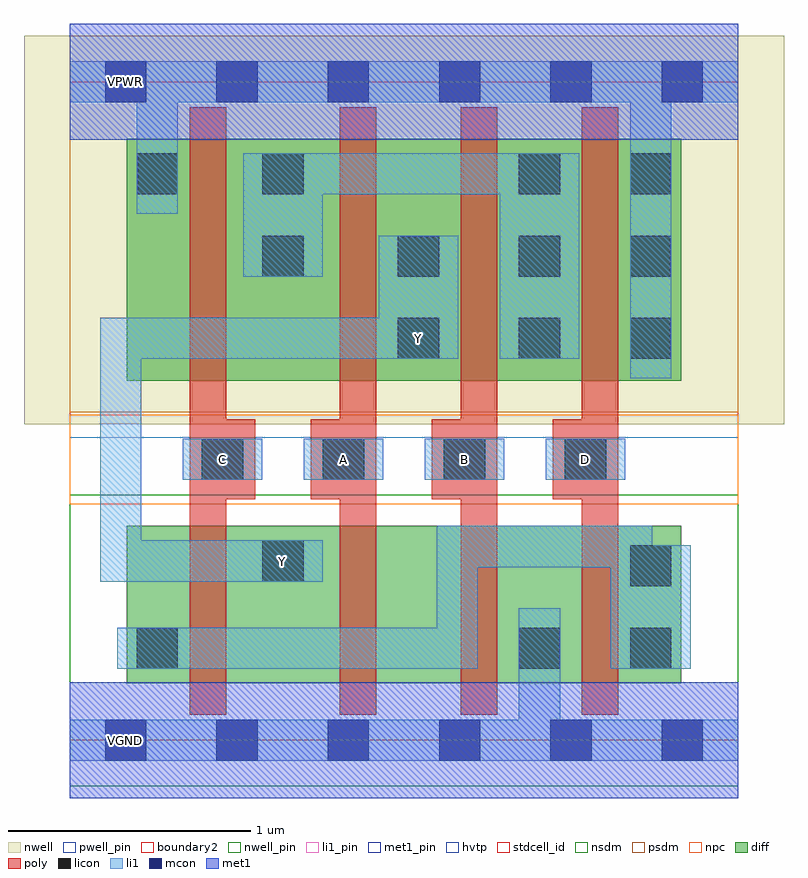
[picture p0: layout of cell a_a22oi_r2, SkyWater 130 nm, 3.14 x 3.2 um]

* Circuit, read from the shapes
.subckt a_a22oi_r2 A B C D VGND VNB VPB VPWR Y
XM1 Y C n1 VNB sky130_fd_pr__nfet_01v8 w=0.65 l=0.15
XM2 n2 A Y VNB sky130_fd_pr__nfet_01v8 w=0.65 l=0.15
XM3 VGND B n2 VNB sky130_fd_pr__nfet_01v8 w=0.65 l=0.15
XM4 n1 D VGND VNB sky130_fd_pr__nfet_01v8 w=0.65 l=0.15
XM5 n3 C VPWR VPB sky130_fd_pr__pfet_01v8_hvt w=1 l=0.15
XM6 Y A n3 VPB sky130_fd_pr__pfet_01v8_hvt w=1 l=0.15
XM7 n3 B Y VPB sky130_fd_pr__pfet_01v8_hvt w=1 l=0.15
XM8 VPWR D n3 VPB sky130_fd_pr__pfet_01v8_hvt w=1 l=0.15
.ends

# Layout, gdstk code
import gdstk
lib = gdstk.Library(unit=1e-6, precision=1e-09)
def R(c, l, rs):  # rectangles x0, y0, x1, y1
    for r in rs: c.add(gdstk.rectangle(r[:2], r[2:], *l))
def A(c, l, x, y, w, h, nx, ny, dx, dy):  # array of equal rectangles
    R(c, l, [(x+i*dx, y+j*dy, x+i*dx+w, y+j*dy+h) for i in range(nx) for j in range(ny)])
nwell_pin = (64, 16)
nwell = (64, 20)
diff = (65, 20)
poly = (66, 20)
licon = (66, 44)
li1_pin = (67, 16)
li1 = (67, 20)
mcon = (67, 44)
met1_pin = (68, 16)
met1 = (68, 20)
hvtp = (78, 44)
stdcell_id = (81, 4)
nsdm = (93, 44)
psdm = (94, 20)
npc = (95, 20)
pwell_pin = (122, 16)
boundary2 = (236, 0)

a_a22oi_r2 = lib.new_cell('a_a22oi_r2')
R(a_a22oi_r2, nwell_pin, [(0.145,2.635,0.315,2.805)])
R(a_a22oi_r2, nwell, [(-0.19,1.305,2.95,2.91)])
R(a_a22oi_r2, diff, [(0.235,0.235,0.88,0.885), (0.88,0.235,1.44,0.885), (1.44,0.235,1.94,0.885), (1.94,0.235,2.525,0.885), (0.235,1.485,0.88,2.485), (0.88,1.485,1.44,2.485), (1.44,1.485,1.94,2.485), (1.94,1.485,2.525,2.485)])
A(a_a22oi_r2, poly, 1.115, 0.105, 0.15, 2.51, 3, 1, 0.5, 0)
A(a_a22oi_r2, poly, 0.495, 0.995, 0.27, 0.33, 4, 1, 0.5, 0)
R(a_a22oi_r2, poly, [(0.495,0.105,0.645,2.615)])
A(a_a22oi_r2, licon, 0.545, 1.075, 0.17, 0.17, 4, 1, 0.5, 0)
A(a_a22oi_r2, licon, 1.855, 1.575, 0.17, 0.17, 1, 3, 0, 0.34)
A(a_a22oi_r2, licon, 2.315, 1.575, 0.17, 0.17, 1, 3, 0, 0.34)
R(a_a22oi_r2, licon, [(0.275,0.295,0.445,0.465), (1.855,0.295,2.025,0.465), (2.315,0.295,2.485,0.465), (2.315,0.635,2.485,0.805), (0.795,0.655,0.965,0.825), (1.355,1.575,1.525,1.745), (0.795,1.915,0.965,2.085), (1.355,1.915,1.525,2.085), (0.275,2.255,0.445,2.425), (0.795,2.255,0.965,2.425)])
A(a_a22oi_r2, li1_pin, 0.545, 1.075, 0.17, 0.17, 4, 1, 0.5, 0)
R(a_a22oi_r2, li1_pin, [(0.795,0.655,0.965,0.825), (1.355,1.575,1.525,1.745)])
A(a_a22oi_r2, li1, 0.465, 1.075, 0.33, 0.17, 4, 1, 0.5, 0)
R(a_a22oi_r2, li1, [(0,-0.085,2.76,0.085), (1.855,-0.085,2.025,0.545), (0.195,0.295,0.525,0.465), (0.355,0.295,1.685,0.465), (1.515,0.295,1.685,0.885), (2.235,0.295,2.565,0.465), (2.235,0.295,2.405,0.885), (2.235,0.295,2.565,0.805), (0.125,0.655,0.885,0.825), (0.125,0.655,0.295,1.745), (0.715,0.655,1.045,0.825), (1.515,0.715,2.405,0.885), (2.315,1.495,2.485,2.085), (0.125,1.575,1.445,1.745), (1.275,1.575,1.605,1.745), (1.275,1.575,1.605,2.085), (1.775,1.575,2.105,2.085), (2.315,1.835,2.485,2.425), (0.715,1.915,1.045,2.425), (1.775,1.915,2.105,2.425), (2.315,2.085,2.485,2.175), (2.315,2.085,2.485,2.175), (2.315,2.085,2.485,2.175), (2.315,2.085,2.485,2.175), (0.275,2.175,0.445,2.805), (2.315,2.175,2.485,2.805), (0.715,2.255,1.045,2.425), (0.875,2.255,1.945,2.425), (1.775,2.255,2.105,2.425), (0,2.635,2.76,2.805)])
A(a_a22oi_r2, mcon, 0.145, -0.085, 0.17, 0.17, 6, 2, 0.46, 2.72)
R(a_a22oi_r2, met1_pin, [(0.145,-0.085,0.315,0.085), (0.145,2.635,0.315,2.805)])
R(a_a22oi_r2, met1, [(0,-0.24,2.76,0.24), (0,2.48,2.76,2.96)])
R(a_a22oi_r2, hvtp, [(0,1.25,2.76,2.72)])
R(a_a22oi_r2, stdcell_id, [(0,0,2.76,2.72)])
R(a_a22oi_r2, nsdm, [(0,-0.19,2.76,1.015)])
R(a_a22oi_r2, psdm, [(0,1.355,2.76,2.91)])
R(a_a22oi_r2, npc, [(0,0.975,2.76,1.345)])
R(a_a22oi_r2, pwell_pin, [(0.145,-0.085,0.315,0.085)])
R(a_a22oi_r2, boundary2, [(0,0,2.76,2.72)])
a_a22oi_r2.add(gdstk.Label('A', (1.13,1.16), layer=67, texttype=5))
a_a22oi_r2.add(gdstk.Label('B', (1.63,1.16), layer=67, texttype=5))
a_a22oi_r2.add(gdstk.Label('C', (0.63,1.16), layer=67, texttype=5))
a_a22oi_r2.add(gdstk.Label('D', (2.13,1.16), layer=67, texttype=5))
a_a22oi_r2.add(gdstk.Label('Y', (0.88,0.74), layer=67, texttype=5))
a_a22oi_r2.add(gdstk.Label('Y', (1.44,1.66), layer=67, texttype=5))
a_a22oi_r2.add(gdstk.Label('VGND', (0.23,0), layer=68, texttype=5))
a_a22oi_r2.add(gdstk.Label('VPWR', (0.23,2.72), layer=68, texttype=5))
a_a22oi_r2.add(gdstk.Label('VPB', (0.23,2.72), layer=64, texttype=5))
a_a22oi_r2.add(gdstk.Label('VNB', (0.23,0), layer=64, texttype=59))

lib.write_gds('a_a22oi_r2.gds')
